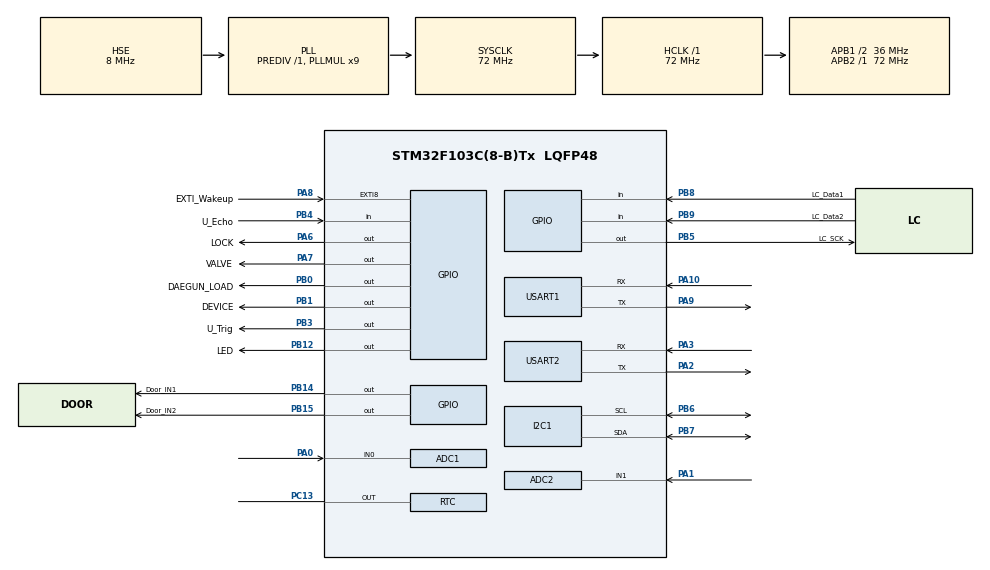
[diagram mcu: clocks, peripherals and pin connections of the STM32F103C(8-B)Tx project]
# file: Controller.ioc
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ADC1.Channel-0\#ChannelRegularConversion=ADC_CHANNEL_0
ADC1.NbrOfConversionFlag=1
ADC1.Rank-0\#ChannelRegularConversion=1
ADC1.SamplingTime-0\#ChannelRegularConversion=ADC_SAMPLETIME_1CYCLE_5
ADC1.master=1
ADC2.Channel-0\#ChannelRegularConversion=ADC_CHANNEL_1
ADC2.NbrOfConversionFlag=1
ADC2.Rank-0\#ChannelRegularConversion=1
ADC2.SamplingTime-0\#ChannelRegularConversion=ADC_SAMPLETIME_1CYCLE_5
I2C1.I2C_Mode=I2C_Fast
Mcu.Family=STM32F1
Mcu.Name=STM32F103C(8-B)Tx
Mcu.Package=LQFP48
NVIC.EXTI9_5_IRQn=true\:0\:0\:false\:false\:true\:true\:true\:true
NVIC.PriorityGroup=NVIC_PRIORITYGROUP_4
NVIC.RTC_Alarm_IRQn=true\:0\:0\:false\:false\:true\:true\:true\:true
NVIC.RTC_IRQn=true\:0\:0\:false\:false\:true\:true\:true\:true
NVIC.USART1_IRQn=true\:0\:0\:false\:false\:true\:true\:true\:true
NVIC.USART2_IRQn=true\:0\:0\:false\:false\:true\:true\:true\:true
PA0-WKUP.Signal=ADCx_IN0
PA1.Signal=ADCx_IN1
PA10.Mode=Asynchronous
PA10.Signal=USART1_RX
PA13.Mode=Serial_Wire
PA13.Signal=SYS_JTMS-SWDIO
PA14.Mode=Serial_Wire
PA14.Signal=SYS_JTCK-SWCLK
PA2.Mode=Asynchronous
PA2.Signal=USART2_TX
PA3.Mode=Asynchronous
PA3.Signal=USART2_RX
PA6.GPIO_Label=LOCK
PA6.GPIO_ModeDefaultOutputPP=GPIO_MODE_OUTPUT_PP
PA6.GPIO_PuPd=GPIO_NOPULL
PA6.PinState=GPIO_PIN_RESET
PA6.Signal=GPIO_Output
PA7.GPIO_Label=VALVE
PA7.GPIO_ModeDefaultOutputPP=GPIO_MODE_OUTPUT_PP
PA7.GPIO_PuPd=GPIO_NOPULL
PA7.PinState=GPIO_PIN_RESET
PA7.Signal=GPIO_Output
PA8.GPIO_Label=EXTI_Wakeup
PA8.Signal=GPXTI8
PA9.Mode=Asynchronous
PA9.Signal=USART1_TX
PB0.GPIO_Label=DAEGUN_LOAD
PB0.GPIO_ModeDefaultOutputPP=GPIO_MODE_OUTPUT_OD
PB0.GPIO_PuPd=GPIO_NOPULL
PB0.PinState=GPIO_PIN_SET
PB0.Signal=GPIO_Output
PB1.GPIO_Label=DEVICE
PB1.GPIO_ModeDefaultOutputPP=GPIO_MODE_OUTPUT_OD
PB1.GPIO_PuPd=GPIO_PULLUP
PB1.PinState=GPIO_PIN_RESET
PB1.Signal=GPIO_Output
PB12.GPIO_Label=LED
PB12.Signal=GPIO_Output
PB14.GPIO_Label=Door_IN1
PB14.Signal=GPIO_Output
PB15.GPIO_Label=Door_IN2
PB15.Signal=GPIO_Output
PB3.GPIO_Label=U_Trig
PB3.Signal=GPIO_Output
PB4.GPIO_Label=U_Echo
PB4.GPIO_PuPd=GPIO_PULLDOWN
PB4.Signal=GPIO_Input
PB5.GPIO_Label=LC_SCK
PB5.Signal=GPIO_Output
PB6.Mode=I2C
PB6.Signal=I2C1_SCL
PB7.Mode=I2C
PB7.Signal=I2C1_SDA
PB8.GPIO_Label=LC_Data1
PB8.GPIO_PuPd=GPIO_PULLUP
PB8.Signal=GPIO_Input
PB9.GPIO_Label=LC_Data2
PB9.GPIO_PuPd=GPIO_PULLUP
PB9.Signal=GPIO_Input
PC13-TAMPER-RTC.Mode=RTC OUT
PC13-TAMPER-RTC.Signal=RTC_OUT
PC14-OSC32_IN.Mode=LSE-External-Oscillator
PC14-OSC32_IN.Signal=RCC_OSC32_IN
PC15-OSC32_OUT.Mode=LSE-External-Oscillator
PC15-OSC32_OUT.Signal=RCC_OSC32_OUT
PD0-OSC_IN.Mode=HSE-External-Oscillator
PD0-OSC_IN.Signal=RCC_OSC_IN
PD1-OSC_OUT.Mode=HSE-External-Oscillator
PD1-OSC_OUT.Signal=RCC_OSC_OUT
ProjectManager.HeapSize=0x200
ProjectManager.StackSize=0x400
ProjectManager.TargetToolchain=STM32CubeIDE
RCC.ADCPresc=RCC_ADCPCLK2_DIV6
RCC.AHBFreq_Value=72000000
RCC.APB1CLKDivider=RCC_HCLK_DIV2
RCC.APB1Freq_Value=36000000
RCC.APB1TimFreq_Value=72000000
RCC.APB2Freq_Value=72000000
RCC.APB2TimFreq_Value=72000000
RCC.HCLKFreq_Value=72000000
RCC.PLLMUL=RCC_PLL_MUL9
RCC.PLLSourceVirtual=RCC_PLLSOURCE_HSE
RCC.RTCClockSelection=RCC_RTCCLKSOURCE_LSE
RCC.SYSCLKFreq_VALUE=72000000
RCC.SYSCLKSource=RCC_SYSCLKSOURCE_PLLCLK
RCC.USBFreq_Value=48000000
RCC.USBPrescaler=RCC_USBCLKSOURCE_PLL_DIV1_5
RTC.Format=RTC_FORMAT_BIN
RTC.Hours_A-RTC\ OUT=12
SH.ADCx_IN0.0=ADC1_IN0,IN0
SH.ADCx_IN1.0=ADC2_IN1,IN1
TIM1.Period=65535-1
TIM1.Prescaler=72-1
USART1.VirtualMode=VM_ASYNC
USART2.VirtualMode=VM_ASYNC
VP_RTC_VS_RTC_Activate.Mode=RTC_Enabled
VP_RTC_VS_RTC_Calendar.Mode=RTC_Calendar
VP_TIM1_VS_ClockSourceINT.Mode=Internal
board=custom

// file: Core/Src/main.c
/* USER CODE BEGIN Header */
/**
 ******************************************************************************
 * @file           : main.c
 * @brief          : Main program body
 ******************************************************************************
 * @attention
 *
 * Copyright (c) 2025 STMicroelectronics.
 * All rights reserved.
 *
 * This software is licensed under terms that can be found in the LICENSE file
 * in the root directory of this software component.
 * If no LICENSE file comes with this software, it is provided AS-IS.
 *
 ******************************************************************************
 */
/* USER CODE END Header */
#include "main.h"

/* USER CODE BEGIN Includes */
#include <stdlib.h>    // atof, srand
#include <string.h>    // memset, memcpy, strstr, ...

#include "Globals/Globals.h"
/* CDC set  up */
//#include "usbd_cdc_if.h"
/* USER CODE END Includes */

/* USER CODE BEGIN PTD */
/* USER CODE BEGIN PTD */

/* ===== END SIM FAKE MODE ===== */

void SystemClock_Config(void);
static void MX_GPIO_Init(void);
static void MX_I2C1_Init(void);
static void MX_USART1_UART_Init(void);
static void MX_USART2_UART_Init(void);
static void MX_TIM1_Init(void);
static void MX_ADC1_Init(void);
static void MX_ADC2_Init(void);
static void MX_RTC_Init(void);

/* USER CODE BEGIN 0 */

float VolumeTotal(float h) {
	float R = 12.5;
	float r = 2.0;
	float H_cone = 8.0;
	float H_cylinder = 8.0;
	float H_total = H_cone + H_cylinder;

	if (h < 0 || h > H_total) {
		return -1.0;
	}
	if (h <= H_cone) {
		float r_h = r + ((R - r) / H_cone) * h;
		return (1.0 / 3.0) * 3.14 * h * (r_h * r_h + r_h * r + r * r);

	} else {
		float V_cone_full = (1.0 / 3.0) * 3.14 * H_cone
				* (R * R + R * r + r * r);
		float h_cylinder_part = h - H_cone;
		float V_cylinder_part = 3.14 * R * R * h_cylinder_part;
		return (V_cone_full + V_cylinder_part) / 1000; //liter unit
	}
}
/* USER CODE END 0 */

int main(void) {

	/* MCU Configuration--------------------------------------------------------*/

	/* Reset of all peripherals, Initializes the Flash interface and the Systick. */
	HAL_Init();

	/* Configure the system clock */
	SystemClock_Config();

	/* Initialize all configured peripherals */
	MX_GPIO_Init();
	MX_I2C1_Init();
	MX_USART1_UART_Init();
	MX_USART2_UART_Init();
	MX_TIM1_Init();
	MX_ADC1_Init();
	MX_ADC2_Init();
	MX_RTC_Init();
	/* USER CODE BEGIN 2 */
	HAL_UARTEx_ReceiveToIdle_IT(&huart1, LOG_buffer, UART_RX_BUFFER_SIZE);
	HAL_UARTEx_ReceiveToIdle_IT(&huart2, SIM_buffer, UART_RX_BUFFER_SIZE);
	WATER_InitDefault(&hi2c1);     // Water sensor driver init
	//TOF SENSOR
	statInfo_t_VL53L0X distanceStr;
	initVL53L0X(1, &hi2c1);
	uint16_t offset_DistanceTof = VL53L0X_OFFSET(&distanceStr);

	//Ultrasonic
	HAL_TIM_Base_Start(&htim1);

	srand(HAL_GetTick()); // For random value in WATERSENSOR.c

	// Load cellHA
	HX711_t scale1;
	HX711_t scale2;
	float calibration_factor = 200.0f;

	//Voltage
	HAL_ADC_Start(&hadc1);
	HAL_ADC_Start(&hadc2);

	//Setup
	FUNCTION = SPACE;
	HAL_GPIO_WritePin(LED_GPIO_Port, LED_Pin, GPIO_PIN_SET); //Turn on led
	HAL_GPIO_WritePin(DEVICE_GPIO_Port, DEVICE_Pin, GPIO_PIN_SET);
	LOG("[DEBUG]", "STM32 OK!");
	SIM_Sleep(3000);
	/* USER CODE END 2 */

	/* Infinite loop */
	while (1) {
		HAL_GPIO_TogglePin(LED_GPIO_Port, LED_Pin);
		HAL_Delay(500); // Delay 0.5sec
		/* USER CODE BEGIN 3 */
		if (LOG_DataValid) {
			if (EXTI_Wakeup) {
				FUNCTION = EXTI_WAKEUP;
				EXTI_Wakeup = false;      // Flag clear
			} else if (Alarm_Wakeup) {
				FUNCTION = ALARM_WAKEUP;
				Alarm_Wakeup = false;     // Flag clear
			} else {
				CheckHeader(); // Configuration FUNCTION as HANDSHAKE, OPENS by the LOG_buffer.
			}
			/* Change the stage when command come in */
			switch (FUNCTION) {
			case HANDSHAKE:
				Handshake();
				break;

			case VALIDATION:
				Validation();
				break;

			case POST_UCO:
				PostUCO();
			    break;

			case POST_PER:
				PostPeriodic();
				break;

			case OPEN_INPUT:
				DoorOpen_Measure();
				break;

			case CLOSE_INPUT:
				DoorClose_Measure();
				break;

			case RECHECK:
				Recheck();
				break;

			case UNLOCK_DOOR:
				UnlockDoor();
				break;

			case SLEEP:
				SleepMode();
				break;

			case ALARM_WAKEUP:
				AlarmWakeUpMode();
				break;

			case EXTI_WAKEUP:
				EXTIWakeUp();
				break;

			case CLOSE_VALVE:
				CloseValve();
				break;

			case OPEN_VALVE:
				OpenValve();
				break;
			case TURN_OFF:
				TurnOff();
				break;
			case TEST_PERCENT:
				TestPercent();
				break;
			case TEST_MEASURE:
				TestMeasure();
				break;
			case TEST_SDCLOSE:
				TestSDClose();
				break;
			case TEST_SDOPEN:
				TestSDOpen();
				break;
			case SETTING:
				Setting();
				break;
			case SPACE:
				break;
			}
			LOG_DataValid = false;
			memset(LOG_buffer, '\0', UART_RX_BUFFER_SIZE); //reset receive buffer
		}
	}
	/* USER CODE END 3 */
}

void SystemClock_Config(void) {
	RCC_OscInitTypeDef RCC_OscInitStruct = { 0 };
	RCC_ClkInitTypeDef RCC_ClkInitStruct = { 0 };
	RCC_PeriphCLKInitTypeDef PeriphClkInit = { 0 };

	/** Initializes the RCC Oscillators according to the specified parameters
	 * in the RCC_OscInitTypeDef structure.
	 */
	RCC_OscInitStruct.OscillatorType = RCC_OSCILLATORTYPE_HSE
			| RCC_OSCILLATORTYPE_LSE;
	RCC_OscInitStruct.HSEState = RCC_HSE_ON;
	RCC_OscInitStruct.HSEPredivValue = RCC_HSE_PREDIV_DIV1;
	RCC_OscInitStruct.LSEState = RCC_LSE_ON;
	RCC_OscInitStruct.HSIState = RCC_HSI_ON;
	RCC_OscInitStruct.PLL.PLLState = RCC_PLL_ON;
	RCC_OscInitStruct.PLL.PLLSource = RCC_PLLSOURCE_HSE;
	RCC_OscInitStruct.PLL.PLLMUL = RCC_PLL_MUL9;
	if (HAL_RCC_OscConfig(&RCC_OscInitStruct) != HAL_OK) {
		Error_Handler();
	}

	/** Initializes the CPU, AHB and APB buses clocks
	 */
	RCC_ClkInitStruct.ClockType = RCC_CLOCKTYPE_HCLK | RCC_CLOCKTYPE_SYSCLK
			| RCC_CLOCKTYPE_PCLK1 | RCC_CLOCKTYPE_PCLK2;
	RCC_ClkInitStruct.SYSCLKSource = RCC_SYSCLKSOURCE_PLLCLK;
	RCC_ClkInitStruct.AHBCLKDivider = RCC_SYSCLK_DIV1;
	RCC_ClkInitStruct.APB1CLKDivider = RCC_HCLK_DIV2;
	RCC_ClkInitStruct.APB2CLKDivider = RCC_HCLK_DIV1;

	if (HAL_RCC_ClockConfig(&RCC_ClkInitStruct, FLASH_LATENCY_2) != HAL_OK) {
		Error_Handler();
	}
	PeriphClkInit.PeriphClockSelection = RCC_PERIPHCLK_RTC | RCC_PERIPHCLK_ADC;
	PeriphClkInit.RTCClockSelection = RCC_RTCCLKSOURCE_LSE;
	PeriphClkInit.AdcClockSelection = RCC_ADCPCLK2_DIV6;
	if (HAL_RCCEx_PeriphCLKConfig(&PeriphClkInit) != HAL_OK) {
		Error_Handler();
	}
}

static void MX_ADC1_Init(void) {

	ADC_ChannelConfTypeDef sConfig = { 0 };

	/** Common config
	 */
	hadc1.Instance = ADC1;
	hadc1.Init.ScanConvMode = ADC_SCAN_DISABLE;
	hadc1.Init.ContinuousConvMode = DISABLE;
	hadc1.Init.DiscontinuousConvMode = DISABLE;
	hadc1.Init.ExternalTrigConv = ADC_SOFTWARE_START;
	hadc1.Init.DataAlign = ADC_DATAALIGN_RIGHT;
	hadc1.Init.NbrOfConversion = 1;
	if (HAL_ADC_Init(&hadc1) != HAL_OK) {
		Error_Handler();
	}

	/** Configure Regular Channel
	 */
	sConfig.Channel = ADC_CHANNEL_0;
	sConfig.Rank = ADC_REGULAR_RANK_1;
	sConfig.SamplingTime = ADC_SAMPLETIME_1CYCLE_5;
	if (HAL_ADC_ConfigChannel(&hadc1, &sConfig) != HAL_OK) {
		Error_Handler();
	}

}

static void MX_ADC2_Init(void) {

	ADC_ChannelConfTypeDef sConfig = { 0 };

	/** Common config
	 */
	hadc2.Instance = ADC2;
	hadc2.Init.ScanConvMode = ADC_SCAN_DISABLE;
	hadc2.Init.ContinuousConvMode = DISABLE;
	hadc2.Init.DiscontinuousConvMode = DISABLE;
	hadc2.Init.ExternalTrigConv = ADC_SOFTWARE_START;
	hadc2.Init.DataAlign = ADC_DATAALIGN_RIGHT;
	hadc2.Init.NbrOfConversion = 1;
	if (HAL_ADC_Init(&hadc2) != HAL_OK) {
		Error_Handler();
	}

	/** Configure Regular Channel
	 */
	sConfig.Channel = ADC_CHANNEL_1;
	sConfig.Rank = ADC_REGULAR_RANK_1;
	sConfig.SamplingTime = ADC_SAMPLETIME_1CYCLE_5;
	if (HAL_ADC_ConfigChannel(&hadc2, &sConfig) != HAL_OK) {
		Error_Handler();
	}

}

static void MX_I2C1_Init(void) {

	hi2c1.Instance = I2C1;
	hi2c1.Init.ClockSpeed = 400000;
	hi2c1.Init.DutyCycle = I2C_DUTYCYCLE_2;
	hi2c1.Init.OwnAddress1 = 0;
	hi2c1.Init.AddressingMode = I2C_ADDRESSINGMODE_7BIT;
	hi2c1.Init.DualAddressMode = I2C_DUALADDRESS_DISABLE;
	hi2c1.Init.OwnAddress2 = 0;
	hi2c1.Init.GeneralCallMode = I2C_GENERALCALL_DISABLE;
	hi2c1.Init.NoStretchMode = I2C_NOSTRETCH_DISABLE;
	if (HAL_I2C_Init(&hi2c1) != HAL_OK) {
		Error_Handler();
	}

}

static void MX_RTC_Init(void) {

	RTC_TimeTypeDef sTime = { 0 };
	RTC_DateTypeDef DateToUpdate = { 0 };
	RTC_AlarmTypeDef sAlarm = { 0 };

	/** Initialize RTC Only
	 */
	hrtc.Instance = RTC;
	hrtc.Init.AsynchPrediv = RTC_AUTO_1_SECOND;
	hrtc.Init.OutPut = RTC_OUTPUTSOURCE_ALARM;
	if (HAL_RTC_Init(&hrtc) != HAL_OK) {
		Error_Handler();
	}

	/** Initialize RTC and set the Time and Date
	 */
	sTime.Hours = 0;
	sTime.Minutes = 0;
	sTime.Seconds = 0;

	if (HAL_RTC_SetTime(&hrtc, &sTime, RTC_FORMAT_BIN) != HAL_OK) {
		Error_Handler();
	}
	DateToUpdate.WeekDay = RTC_WEEKDAY_MONDAY;
	DateToUpdate.Month = RTC_MONTH_JANUARY;
	DateToUpdate.Date = 1;
	DateToUpdate.Year = 0;

	if (HAL_RTC_SetDate(&hrtc, &DateToUpdate, RTC_FORMAT_BIN) != HAL_OK) {
		Error_Handler();
	}

	/** Enable the Alarm A
	 */
	sAlarm.AlarmTime.Hours = 12;
	sAlarm.AlarmTime.Minutes = 0;
	sAlarm.AlarmTime.Seconds = 0;
	sAlarm.Alarm = RTC_ALARM_A;
	if (HAL_RTC_SetAlarm_IT(&hrtc, &sAlarm, RTC_FORMAT_BIN) != HAL_OK) {
		Error_Handler();
	}

}

static void MX_TIM1_Init(void) {

	TIM_ClockConfigTypeDef sClockSourceConfig = { 0 };
	TIM_MasterConfigTypeDef sMasterConfig = { 0 };

	htim1.Instance = TIM1;
	htim1.Init.Prescaler = 72 - 1;
	htim1.Init.CounterMode = TIM_COUNTERMODE_UP;
	htim1.Init.Period = 65535 - 1;
	htim1.Init.ClockDivision = TIM_CLOCKDIVISION_DIV1;
	htim1.Init.RepetitionCounter = 0;
	htim1.Init.AutoReloadPreload = TIM_AUTORELOAD_PRELOAD_DISABLE;
	if (HAL_TIM_Base_Init(&htim1) != HAL_OK) {
		Error_Handler();
	}
	sClockSourceConfig.ClockSource = TIM_CLOCKSOURCE_INTERNAL;
	if (HAL_TIM_ConfigClockSource(&htim1, &sClockSourceConfig) != HAL_OK) {
		Error_Handler();
	}
	sMasterConfig.MasterOutputTrigger = TIM_TRGO_RESET;
	sMasterConfig.MasterSlaveMode = TIM_MASTERSLAVEMODE_DISABLE;
	if (HAL_TIMEx_MasterConfigSynchronization(&htim1, &sMasterConfig)
			!= HAL_OK) {
		Error_Handler();
	}

}

static void MX_USART1_UART_Init(void) {

	huart1.Instance = USART1;
	huart1.Init.BaudRate = 115200;
	huart1.Init.WordLength = UART_WORDLENGTH_8B;
	huart1.Init.StopBits = UART_STOPBITS_1;
	huart1.Init.Parity = UART_PARITY_NONE;
	huart1.Init.Mode = UART_MODE_TX_RX;
	huart1.Init.HwFlowCtl = UART_HWCONTROL_NONE;
	huart1.Init.OverSampling = UART_OVERSAMPLING_16;
	if (HAL_UART_Init(&huart1) != HAL_OK) {
		Error_Handler();
	}

}

static void MX_USART2_UART_Init(void) {

	huart2.Instance = USART2;
	huart2.Init.BaudRate = 115200;
	huart2.Init.WordLength = UART_WORDLENGTH_8B;
	huart2.Init.StopBits = UART_STOPBITS_1;
	huart2.Init.Parity = UART_PARITY_NONE;
	huart2.Init.Mode = UART_MODE_TX_RX;
	huart2.Init.HwFlowCtl = UART_HWCONTROL_NONE;
	huart2.Init.OverSampling = UART_OVERSAMPLING_16;
	if (HAL_UART_Init(&huart2) != HAL_OK) {
		Error_Handler();
	}

}

static void MX_GPIO_Init(void) {
	GPIO_InitTypeDef GPIO_InitStruct = { 0 };

	/* GPIO Ports Clock Enable */
	__HAL_RCC_GPIOC_CLK_ENABLE();
	__HAL_RCC_GPIOD_CLK_ENABLE();
	__HAL_RCC_GPIOA_CLK_ENABLE();
	__HAL_RCC_GPIOB_CLK_ENABLE();

	/*Configure GPIO pin Output Level */
	HAL_GPIO_WritePin(GPIOA, LOCK_Pin | VALVE_Pin, GPIO_PIN_RESET);

	/*Configure GPIO pin Output Level */
	HAL_GPIO_WritePin(DAEGUN_LOAD_GPIO_Port, DAEGUN_LOAD_Pin, GPIO_PIN_SET);

	/*Configure GPIO pin Output Level */
	HAL_GPIO_WritePin(GPIOB,
			DEVICE_Pin | LED_Pin | Door_IN1_Pin | Door_IN2_Pin | U_Trig_Pin
					| LC_SCK_Pin, GPIO_PIN_RESET);

	/*Configure GPIO pins : LOCK_Pin VALVE_Pin */
	GPIO_InitStruct.Pin = LOCK_Pin | VALVE_Pin;
	GPIO_InitStruct.Mode = GPIO_MODE_OUTPUT_PP;
	GPIO_InitStruct.Pull = GPIO_NOPULL;
	GPIO_InitStruct.Speed = GPIO_SPEED_FREQ_LOW;
	HAL_GPIO_Init(GPIOA, &GPIO_InitStruct);

	/*Configure GPIO pin : DAEGUN_LOAD_Pin */
	GPIO_InitStruct.Pin = DAEGUN_LOAD_Pin;
	GPIO_InitStruct.Mode = GPIO_MODE_OUTPUT_OD;
	GPIO_InitStruct.Pull = GPIO_NOPULL;
	GPIO_InitStruct.Speed = GPIO_SPEED_FREQ_LOW;
	HAL_GPIO_Init(DAEGUN_LOAD_GPIO_Port, &GPIO_InitStruct);

	/*Configure GPIO pin : DEVICE_Pin */
	GPIO_InitStruct.Pin = DEVICE_Pin;
	GPIO_InitStruct.Mode = GPIO_MODE_OUTPUT_OD;
	GPIO_InitStruct.Pull = GPIO_PULLUP;
	GPIO_InitStruct.Speed = GPIO_SPEED_FREQ_LOW;
	HAL_GPIO_Init(DEVICE_GPIO_Port, &GPIO_InitStruct);

	/*Configure GPIO pins : LED_Pin Door_IN1_Pin Door_IN2_Pin U_Trig_Pin
	 LC_SCK_Pin */
	GPIO_InitStruct.Pin = LED_Pin | Door_IN1_Pin | Door_IN2_Pin | U_Trig_Pin
			| LC_SCK_Pin;
	GPIO_InitStruct.Mode = GPIO_MODE_OUTPUT_PP;
	GPIO_InitStruct.Pull = GPIO_NOPULL;
	GPIO_InitStruct.Speed = GPIO_SPEED_FREQ_LOW;
	HAL_GPIO_Init(GPIOB, &GPIO_InitStruct);

	/*Configure GPIO pin : EXTI_Wakeup_Pin */
	GPIO_InitStruct.Pin = EXTI_Wakeup_Pin;
	GPIO_InitStruct.Mode = GPIO_MODE_IT_RISING;
	GPIO_InitStruct.Pull = GPIO_NOPULL;
	HAL_GPIO_Init(EXTI_Wakeup_GPIO_Port, &GPIO_InitStruct);

	/*Configure GPIO pin : U_Echo_Pin */
	GPIO_InitStruct.Pin = U_Echo_Pin;
	GPIO_InitStruct.Mode = GPIO_MODE_INPUT;
	GPIO_InitStruct.Pull = GPIO_PULLDOWN;
	HAL_GPIO_Init(U_Echo_GPIO_Port, &GPIO_InitStruct);

	/*Configure GPIO pins : LC_Data1_Pin LC_Data2_Pin */
	GPIO_InitStruct.Pin = LC_Data1_Pin | LC_Data2_Pin;
	GPIO_InitStruct.Mode = GPIO_MODE_INPUT;
	GPIO_InitStruct.Pull = GPIO_PULLUP;
	HAL_GPIO_Init(GPIOB, &GPIO_InitStruct);

	/* EXTI interrupt init*/
	HAL_NVIC_SetPriority(EXTI9_5_IRQn, 0, 0);
	HAL_NVIC_EnableIRQ(EXTI9_5_IRQn);

}

/* USER CODE BEGIN 4 */
void HAL_UARTEx_RxEventCallback(UART_HandleTypeDef *huart, uint16_t Size) {
	// LOG UART Handle
	if (huart->Instance == USART1) {
		if (Size < UART_RX_BUFFER_SIZE) {
			LOG_buffer[Size] = '\0';   // ★ 문자열 끝 표시
		} else {
			LOG_buffer[UART_RX_BUFFER_SIZE - 1] = '\0';
		}

		LOG_DataValid = true;
		HAL_UARTEx_ReceiveToIdle_IT(&huart1, LOG_buffer, UART_RX_BUFFER_SIZE);
	}

	// SIMCom UART Handle
	if (huart->Instance == USART2) {
		if (Size < UART_RX_BUFFER_SIZE) {
			SIM_buffer[Size] = '\0';
		} else {
			SIM_buffer[UART_RX_BUFFER_SIZE - 1] = '\0';
		}

		SIM_DataValid = true;
		HAL_UARTEx_ReceiveToIdle_IT(&huart2, SIM_buffer, UART_RX_BUFFER_SIZE);
	}
}

// void USB_CDC_RxHandler(uint8_t* Buf, uint32_t Len)
// {
// 	LOG_DataValid = true;
// 	memcpy(LOG_buffer, Buf, Len);
// }

void HAL_GPIO_EXTI_Callback(uint16_t GPIO_Pin) {
	if ((GPIO_Pin == GPIO_PIN_8) && flag_EXTI) {
		EXTI_Wakeup = true;      // ★ 여기만 세트
		LOG_DataValid = true;    // 메인 루프 깨우는 용도
	}
}

void HAL_RTC_AlarmAEventCallback(RTC_HandleTypeDef *hrtc) {
	Alarm_Wakeup = true;         // ★ 알람 이벤트 플래그
	LOG_DataValid = true;        // 메인 루프 깨우는 용도
	Set_RTC(0, 0, 0);
}

/* USER CODE END 4 */

void Error_Handler(void) {
	__disable_irq();
	while (1) {
	}
}
